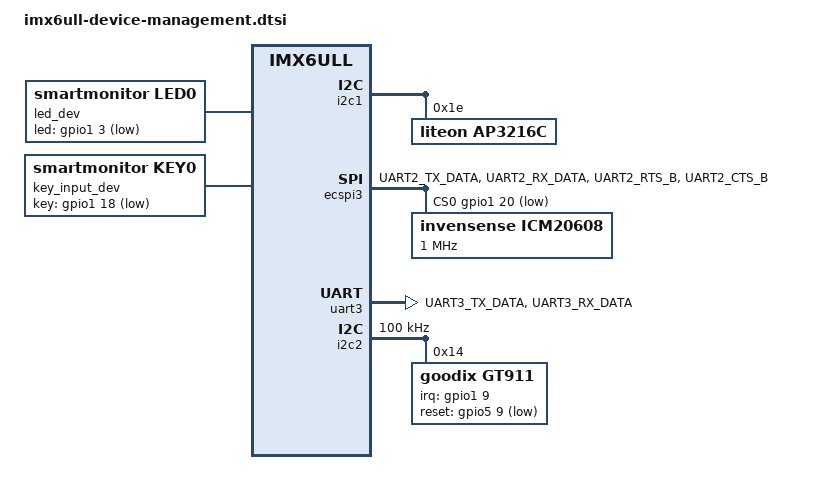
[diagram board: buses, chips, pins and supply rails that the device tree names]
#include <dt-bindings/input/input.h>
#include <dt-bindings/interrupt-controller/irq.h>

/ {
    led_dev {
        compatible = "smartmonitor,led0";
        pinctrl-names = "default";
        pinctrl-0 = <&pinctrl_led>;
        led-gpios = <&gpio1 3 GPIO_ACTIVE_LOW>;
        status = "okay";
    };

    key_input_dev {
        compatible = "smartmonitor,key0";
        pinctrl-names = "default";
        pinctrl-0 = <&pinctrl_key>;
        key-gpios = <&gpio1 18 GPIO_ACTIVE_LOW>;
        linux,code = <KEY_ENTER>;
        debounce-interval = <20>;
        status = "okay";
    };
};

/* GT911 CT_RST：SNVS_TAMPER9，GPIO5_IO09 */
&iomuxc_snvs {
    imx6ul-evk {
        pinctrl_gt911_reset: gt911resetgrp {
            fsl,pins = <
                MX6ULL_PAD_SNVS_TAMPER9__GPIO5_IO09    0X10B0
            >;
        };
    };
};

&iomuxc {
    imx6u-evk {
        pinctrl_led: ledgrp {
            fsl,pins = <
                MX6UL_PAD_GPIO1_IO03__GPIO1_IO03    0X10B0
            >;
        };

        pinctrl_key: keygrp {
            fsl,pins = <
                MX6UL_PAD_UART1_CTS_B__GPIO1_IO18    0XF080
            >;
        };

        pinctrl_icm20608: icm20608grp {
            fsl,pins = <
                MX6UL_PAD_UART2_TX_DATA__GPIO1_IO20    0X10B0
                MX6UL_PAD_UART2_RX_DATA__ECSPI3_SCLK   0X10B1
                MX6UL_PAD_UART2_RTS_B__ECSPI3_MISO     0X10B1
                MX6UL_PAD_UART2_CTS_B__ECSPI3_MOSI     0X10B1
            >;
        };

        pinctrl_uart3: uart3grp {
            fsl,pins = <
                MX6UL_PAD_UART3_TX_DATA__UART3_DCE_TX    0X1B0B1
                MX6UL_PAD_UART3_RX_DATA__UART3_DCE_RX    0X1B0B1
            >;
        };

        pinctrl_gt911_int: gt911intgrp {
            fsl,pins = <
                MX6UL_PAD_GPIO1_IO09__GPIO1_IO09    0X00B0
            >;
        };
    };
};

&i2c1 {
    status = "okay";
    ap3216c@1e {
        compatible = "liteon,ap3216c";
        reg = <0x1e>;
        status = "okay";
    };
};

&uart2 {
    status = "disabled";
};

&ecspi3 {
    fsl,spi-num-chipselects = <1>; /* 一个片选 */
    cs-gpios = <&gpio1 20 GPIO_ACTIVE_LOW>;
    pinctrl-names = "default";
    pinctrl-0 = <&pinctrl_icm20608>;
    status = "okay";
    icm20608@0 {
        compatible = "invensense,icm20608";
        reg = <0>;
        spi-max-frequency = <1000000>;
        status = "okay";
    };
};

&uart3 {
    pinctrl-names = "default";
    pinctrl-0 = <&pinctrl_uart3>;
    status = "okay";
};

/* 保留 SD 卡检测和 VSELECT，释放 GPIO1_IO09 */
&pinctrl_hog_1 {
    fsl,pins = <
        MX6UL_PAD_UART1_RTS_B__GPIO1_IO19       0X17059
        MX6UL_PAD_GPIO1_IO05__USDHC1_VSELECT    0X17059
    >;
};

/* SD 卡固定 3.3V 供电，解除对 CT_INT 引脚的错误占用 */
&reg_sd1_vmmc {
    /delete-property/ gpio;
    /delete-property/ enable-active-high;

    regulator-always-on;
};

&i2c2 {
    clock-frequency = <100000>;
    status = "okay";
    gt911: touchscreen@14 {
        compatible = "goodix,gt911";
        reg = <0x14>;

        pinctrl-names = "default";
        pinctrl-0 = <&pinctrl_gt911_int
                     &pinctrl_gt911_reset>;

        /* 中断来自 GPIO1 控制器 */
        interrupt-parent = <&gpio1>;

        /* 由驱动读取 0x804D 后设置实际触发方式 */
        interrupts = <9 IRQ_TYPE_NONE>;

        irq-gpios = <&gpio1 9 GPIO_ACTIVE_HIGH>;
        reset-gpios = <&gpio5 9 GPIO_ACTIVE_LOW>;

        touchscreen-size-x = <1024>;
        touchscreen-size-y = <600>;

        status = "okay";
    };
};

/* 关闭不用的片内电阻触摸控制器 */
&tsc {
    status = "disabled";
};

